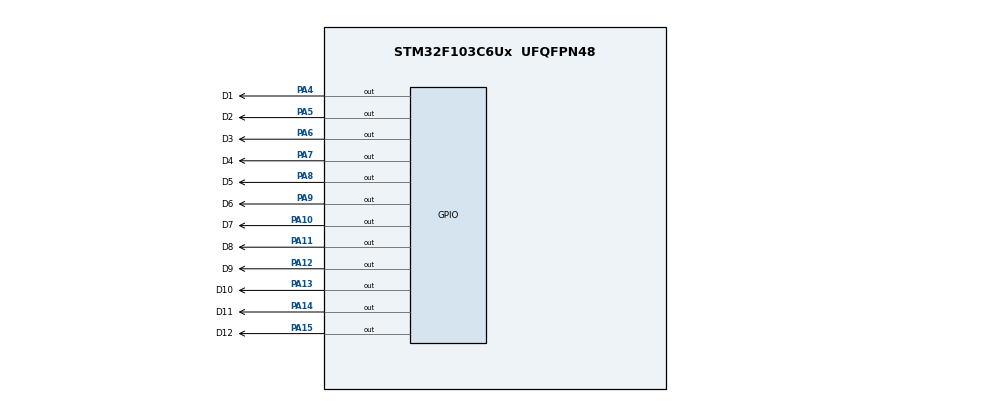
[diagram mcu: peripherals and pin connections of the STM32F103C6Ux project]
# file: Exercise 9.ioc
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Mcu.Family=STM32F1
Mcu.Name=STM32F103C6Ux
Mcu.Package=UFQFPN48
NVIC.PriorityGroup=NVIC_PRIORITYGROUP_4
PA10.GPIO_Label=D7
PA10.Signal=GPIO_Output
PA11.GPIO_Label=D8
PA11.Signal=GPIO_Output
PA12.GPIO_Label=D9
PA12.Signal=GPIO_Output
PA13.GPIO_Label=D10
PA13.Signal=GPIO_Output
PA14.GPIO_Label=D11
PA14.Signal=GPIO_Output
PA15.GPIO_Label=D12
PA15.Signal=GPIO_Output
PA4.GPIO_Label=D1
PA4.Signal=GPIO_Output
PA5.GPIO_Label=D2
PA5.Signal=GPIO_Output
PA6.GPIO_Label=D3
PA6.Signal=GPIO_Output
PA7.GPIO_Label=D4
PA7.Signal=GPIO_Output
PA8.GPIO_Label=D5
PA8.Signal=GPIO_Output
PA9.GPIO_Label=D6
PA9.Signal=GPIO_Output
ProjectManager.HeapSize=0x200
ProjectManager.StackSize=0x400
ProjectManager.TargetToolchain=STM32CubeIDE
RCC.APB1Freq_Value=8000000
RCC.APB2Freq_Value=8000000
VP_SYS_VS_ND.Mode=No_Debug
board=custom

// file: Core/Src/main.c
/* USER CODE BEGIN Header */
/**
  ******************************************************************************
  * @file           : main.c
  * @brief          : Main program body
  ******************************************************************************
  * @attention
  *
  * <h2><center>&copy; Copyright (c) 2022 STMicroelectronics.
  * All rights reserved.</center></h2>
  *
  * This software component is licensed by ST under BSD 3-Clause license,
  * the "License"; You may not use this file except in compliance with the
  * License. You may obtain a copy of the License at:
  *                        opensource.org/licenses/BSD-3-Clause
  *
  ******************************************************************************
  */
/* USER CODE END Header */
#include "main.h"

void SystemClock_Config(void);
static void MX_GPIO_Init(void);

/* USER CODE BEGIN 0 */
void clearNumberOnClock(int num)
{
	switch (num)
			  {
			  case 0: HAL_GPIO_WritePin(D1_GPIO_Port, D1_Pin, RESET); break;
			  case 1: HAL_GPIO_WritePin(D2_GPIO_Port, D2_Pin, RESET); break;
			  case 2: HAL_GPIO_WritePin(D3_GPIO_Port, D3_Pin, RESET); break;
			  case 3: HAL_GPIO_WritePin(D4_GPIO_Port, D4_Pin, RESET); break;
			  case 4: HAL_GPIO_WritePin(D5_GPIO_Port, D5_Pin, RESET); break;
			  case 5: HAL_GPIO_WritePin(D6_GPIO_Port, D6_Pin, RESET); break;
			  case 6: HAL_GPIO_WritePin(D7_GPIO_Port, D7_Pin, RESET); break;
			  case 7: HAL_GPIO_WritePin(D8_GPIO_Port, D8_Pin, RESET); break;
			  case 8: HAL_GPIO_WritePin(D9_GPIO_Port, D9_Pin, RESET); break;
			  case 9: HAL_GPIO_WritePin(D10_GPIO_Port, D10_Pin, RESET); break;
			  case 10: HAL_GPIO_WritePin(D11_GPIO_Port, D11_Pin, RESET); break;
			  case 11: HAL_GPIO_WritePin(D12_GPIO_Port, D12_Pin, RESET); break;
			  default: break;
			  }
}
/* USER CODE END 0 */

int main(void)
{

  /* MCU Configuration--------------------------------------------------------*/

  /* Reset of all peripherals, Initializes the Flash interface and the Systick. */
  HAL_Init();

  /* Configure the system clock */
  SystemClock_Config();

  /* Initialize all configured peripherals */
  MX_GPIO_Init();

  /* Infinite loop */
  /* USER CODE BEGIN WHILE */
  int num = 0;
  while (1)
  {
	  // All led turn on when start
	  	HAL_GPIO_WritePin(GPIOA, D1_Pin|D2_Pin|D3_Pin|D4_Pin|D5_Pin|D6_Pin|D7_Pin|D8_Pin|D9_Pin|D10_Pin|D11_Pin|D12_Pin, GPIO_PIN_SET);
	  // Turn on all led when num = 12
		  if (num >= 12)
		  {
			  HAL_GPIO_WritePin(GPIOA, D1_Pin|D2_Pin|D3_Pin|D4_Pin|D5_Pin|D6_Pin|D7_Pin|D8_Pin|D9_Pin|D10_Pin|D11_Pin|D12_Pin, GPIO_PIN_SET);
			  num = 0;
		  }
		clearNumberOnClock(num++);
		HAL_Delay(500);

    /* USER CODE END WHILE */

  }
}

void SystemClock_Config(void)
{
  RCC_OscInitTypeDef RCC_OscInitStruct = {0};
  RCC_ClkInitTypeDef RCC_ClkInitStruct = {0};

  /** Initializes the RCC Oscillators according to the specified parameters
  * in the RCC_OscInitTypeDef structure.
  */
  RCC_OscInitStruct.OscillatorType = RCC_OSCILLATORTYPE_HSI;
  RCC_OscInitStruct.HSIState = RCC_HSI_ON;
  RCC_OscInitStruct.HSICalibrationValue = RCC_HSICALIBRATION_DEFAULT;
  RCC_OscInitStruct.PLL.PLLState = RCC_PLL_NONE;
  if (HAL_RCC_OscConfig(&RCC_OscInitStruct) != HAL_OK)
  {
    Error_Handler();
  }
  /** Initializes the CPU, AHB and APB buses clocks
  */
  RCC_ClkInitStruct.ClockType = RCC_CLOCKTYPE_HCLK|RCC_CLOCKTYPE_SYSCLK
                              |RCC_CLOCKTYPE_PCLK1|RCC_CLOCKTYPE_PCLK2;
  RCC_ClkInitStruct.SYSCLKSource = RCC_SYSCLKSOURCE_HSI;
  RCC_ClkInitStruct.AHBCLKDivider = RCC_SYSCLK_DIV1;
  RCC_ClkInitStruct.APB1CLKDivider = RCC_HCLK_DIV1;
  RCC_ClkInitStruct.APB2CLKDivider = RCC_HCLK_DIV1;

  if (HAL_RCC_ClockConfig(&RCC_ClkInitStruct, FLASH_LATENCY_0) != HAL_OK)
  {
    Error_Handler();
  }
}

static void MX_GPIO_Init(void)
{
  GPIO_InitTypeDef GPIO_InitStruct = {0};

  /* GPIO Ports Clock Enable */
  __HAL_RCC_GPIOA_CLK_ENABLE();

  /*Configure GPIO pin Output Level */
  HAL_GPIO_WritePin(GPIOA, D1_Pin|D2_Pin|D3_Pin|D4_Pin
                          |D5_Pin|D6_Pin|D7_Pin|D8_Pin
                          |D9_Pin|D10_Pin|D11_Pin|D12_Pin, GPIO_PIN_RESET);

  /*Configure GPIO pins : D1_Pin D2_Pin D3_Pin D4_Pin
                           D5_Pin D6_Pin D7_Pin D8_Pin
                           D9_Pin D10_Pin D11_Pin D12_Pin */
  GPIO_InitStruct.Pin = D1_Pin|D2_Pin|D3_Pin|D4_Pin
                          |D5_Pin|D6_Pin|D7_Pin|D8_Pin
                          |D9_Pin|D10_Pin|D11_Pin|D12_Pin;
  GPIO_InitStruct.Mode = GPIO_MODE_OUTPUT_PP;
  GPIO_InitStruct.Pull = GPIO_NOPULL;
  GPIO_InitStruct.Speed = GPIO_SPEED_FREQ_LOW;
  HAL_GPIO_Init(GPIOA, &GPIO_InitStruct);

}

void Error_Handler(void)
{
  __disable_irq();
  while (1)
  {
  }
}

/************************ (C) COPYRIGHT STMicroelectronics *****END OF FILE****/
